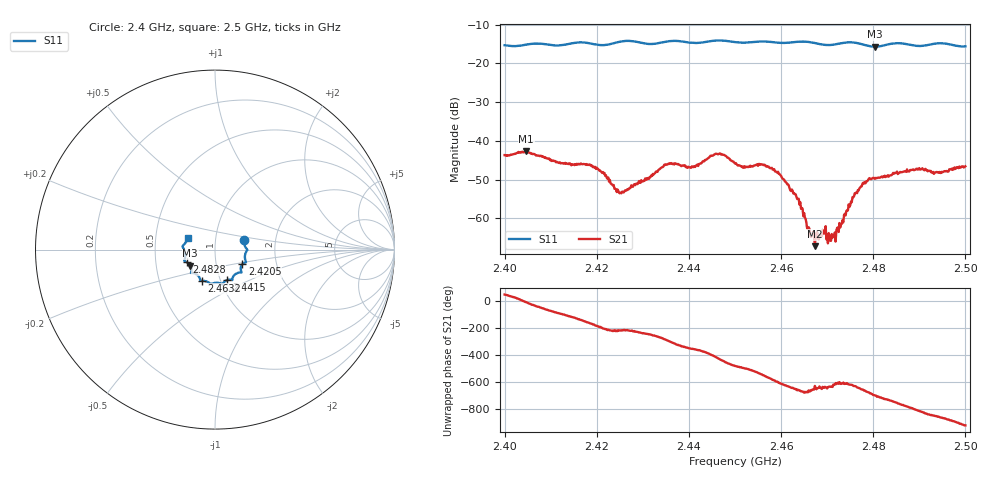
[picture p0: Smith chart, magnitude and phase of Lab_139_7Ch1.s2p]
# Hz S RI R 50
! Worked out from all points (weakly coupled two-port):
!   601 points, 2.4 GHz to 2.5 GHz, reference 50 ohm
!   highest |S21| = -42.63 dB at 2.4047 GHz (marker M1); lowest = -67.2 dB at 2.4673 GHz (marker M2)
!   lowest |S11| = -15.7 dB at 2.4803 GHz (marker M3), VSWR 1.39, Z = 37.4 - j6.85 ohm
!   |S11| at or under -10 dB: start of sweep to end of sweep
!   S12 and S22 are empty: the file has one direction only
!   S11 on the Smith chart (normalised r, x): 2.4 GHz: 1.38, +0.15; 2.4205 GHz: 1.34, -0.22; 2.4415 GHz: 1.07, -0.38; 2.4632 GHz: 0.82, -0.29; 2.4828 GHz: 0.72, -0.10; 2.5 GHz: 0.73, +0.10
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2.4e9  0.1633 0.0516  0.0043 0.00495  0 0  0 0
2.404667e9  0.1742 0.00612  0.00732 -0.000964  0 0  0 0
2.416667e9  0.1728 -0.0699  -0.0039 -0.00323  0 0  0 0
2.4205e9  0.1521 -0.0815  -0.00408 0.000789  0 0  0 0
2.425333e9  0.1467 -0.1233  -0.00165 0.00132  0 0  0 0
2.433333e9  0.1005 -0.1517  -0.000377 0.00417  0 0  0 0
2.435833e9  0.0971 -0.1675  0.00248 0.00439  0 0  0 0
2.4415e9  0.0655 -0.1707  0.00475 4.95e-05  0 0  0 0
2.446333e9  0.0408 -0.1931  0.00296 -0.00601  0 0  0 0
2.45e9  0.0242 -0.1865  -0.00262 -0.00439  0 0  0 0
2.458e9  -0.0316 -0.1855  -0.00341 0.00292  0 0  0 0
2.463167e9  -0.0731 -0.174  0.000835 0.00186  0 0  0 0
2.466667e9  -0.0823 -0.167  0.000304 0.000511  0 0  0 0
2.467333e9  -0.0839 -0.1626  -1.01e-05 0.000439  0 0  0 0
2.469167e9  -0.0922 -0.1476  0.000131 0.000634  0 0  0 0
2.471333e9  -0.1121 -0.1332  -0.000114 0.000573  0 0  0 0
2.476e9  -0.1334 -0.1277  -5.15e-06 0.00211  0 0  0 0
2.478167e9  -0.1305 -0.1129  0.00161 0.00247  0 0  0 0
2.480333e9  -0.1377 -0.0892  0.00301 0.0012  0 0  0 0
2.482833e9  -0.1587 -0.0702  0.00346 -0.000499  0 0  0 0
2.483333e9  -0.1625 -0.0681  0.00337 -0.000723  0 0  0 0
2.5e9  -0.1526 0.0644  -0.00438 0.00172  0 0  0 0
